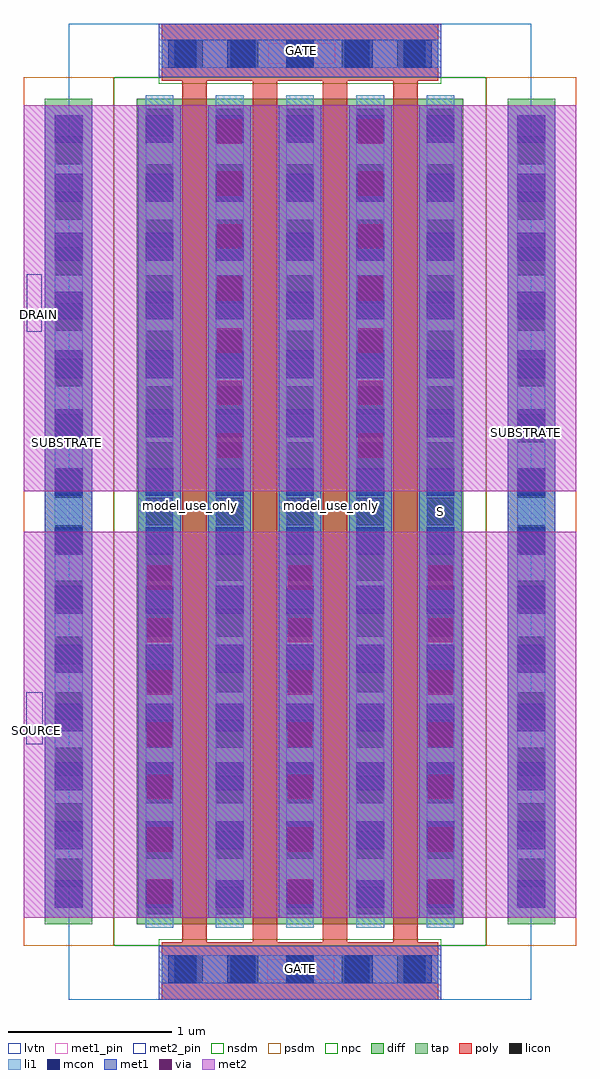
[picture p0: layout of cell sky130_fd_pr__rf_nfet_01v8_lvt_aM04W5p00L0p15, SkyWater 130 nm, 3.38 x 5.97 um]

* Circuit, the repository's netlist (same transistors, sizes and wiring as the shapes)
* Copyright 2020 The SkyWater PDK Authors
*
* Licensed under the Apache License, Version 2.0 (the "License");
* you may not use this file except in compliance with the License.
* You may obtain a copy of the License at
*
*     https://www.apache.org/licenses/LICENSE-2.0
*
* Unless required by applicable law or agreed to in writing, software
* distributed under the License is distributed on an "AS IS" BASIS,
* WITHOUT WARRANTIES OR CONDITIONS OF ANY KIND, either express or implied.
* See the License for the specific language governing permissions and
* limitations under the License.
*
* SPDX-License-Identifier: Apache-2.0


.subckt sky130_fd_pr__rf_nfet_01v8_lvt_aM04W5p00L0p15 DRAIN GATE SOURCE SUBSTRATE
X0 DRAIN GATE SOURCE SUBSTRATE sky130_fd_pr__nfet_01v8_lvt w=5.05e+06u l=150000u
X1 DRAIN GATE SOURCE SUBSTRATE sky130_fd_pr__nfet_01v8_lvt w=5.05e+06u l=150000u
X2 SOURCE GATE DRAIN SUBSTRATE sky130_fd_pr__nfet_01v8_lvt w=5.05e+06u l=150000u
X3 SOURCE GATE DRAIN SUBSTRATE sky130_fd_pr__nfet_01v8_lvt w=5.05e+06u l=150000u
.ends

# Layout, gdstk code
import gdstk
lib = gdstk.Library(unit=1e-6, precision=1e-09)
def R(c, l, rs):  # rectangles x0, y0, x1, y1
    for r in rs: c.add(gdstk.rectangle(r[:2], r[2:], *l))
def A(c, l, x, y, w, h, nx, ny, dx, dy):  # array of equal rectangles
    R(c, l, [(x+i*dx, y+j*dy, x+i*dx+w, y+j*dy+h) for i in range(nx) for j in range(ny)])
diff = (65, 20)
tap = (65, 44)
poly = (66, 20)
licon = (66, 44)
li1 = (67, 20)
mcon = (67, 44)
met1_pin = (68, 16)
met1 = (68, 20)
via = (68, 44)
met2_pin = (69, 16)
met2 = (69, 20)
nsdm = (93, 44)
psdm = (94, 20)
npc = (95, 20)
lvtn = (125, 44)

sky130_fd_pr__rf_nfet_01 = lib.new_cell('sky130_fd_pr__rf_nfet_01v8_lvt_aM04W5p00L0p15')
R(sky130_fd_pr__rf_nfet_01, diff, [(0.69,0.46,2.69,5.51)])
R(sky130_fd_pr__rf_nfet_01, tap, [(0.13,0.46,0.42,5.51), (2.96,0.46,3.25,5.51)])
A(sky130_fd_pr__rf_nfet_01, poly, 0.97, 0.35, 0.15, 5.27, 4, 1, 0.43, 0)
R(sky130_fd_pr__rf_nfet_01, poly, [(0.845,0,2.535,0.35), (0.845,5.62,2.535,5.97)])
A(sky130_fd_pr__rf_nfet_01, licon, 0.925, 0.1, 0.17, 0.17, 5, 2, 0.34, 5.6)
A(sky130_fd_pr__rf_nfet_01, licon, 0.745, 0.52, 0.17, 0.17, 5, 15, 0.43, 0.34)
A(sky130_fd_pr__rf_nfet_01, licon, 0.19, 0.69, 0.17, 0.17, 1, 14, 0, 0.34)
A(sky130_fd_pr__rf_nfet_01, licon, 3.02, 0.69, 0.17, 0.17, 1, 14, 0, 0.34)
A(sky130_fd_pr__rf_nfet_01, li1, 0.745, 0.44, 0.17, 5.09, 5, 1, 0.43, 0)
A(sky130_fd_pr__rf_nfet_01, li1, 0.745, 1.64, 0.17, 2.69, 5, 1, 0.43, 0)
R(sky130_fd_pr__rf_nfet_01, li1, [(0.845,0.1,2.535,0.27), (0.885,0.1,2.495,0.27), (0.19,0.56,0.36,5.41), (3.02,0.56,3.19,5.41), (0.19,0.61,0.36,5.36), (3.02,0.61,3.19,5.36), (0.19,1.63,0.36,4.34), (3.02,1.63,3.19,4.34), (0.845,5.7,2.535,5.87), (0.885,5.7,2.495,5.87)])
A(sky130_fd_pr__rf_nfet_01, mcon, 0.885, 0.1, 0.17, 0.17, 5, 2, 0.36, 5.6)
A(sky130_fd_pr__rf_nfet_01, mcon, 0.19, 0.56, 0.17, 0.17, 1, 14, 0, 0.36)
A(sky130_fd_pr__rf_nfet_01, mcon, 0.745, 0.56, 0.17, 0.17, 5, 14, 0.43, 0.36)
A(sky130_fd_pr__rf_nfet_01, mcon, 3.02, 0.56, 0.17, 0.17, 1, 14, 0, 0.36)
R(sky130_fd_pr__rf_nfet_01, met1_pin, [(1.49,0.12,1.9,0.245), (0.19,2.945,0.36,3.025), (3.02,2.945,3.19,3.025), (1.495,5.725,1.905,5.85)])
A(sky130_fd_pr__rf_nfet_01, met1, 0.7, 0.5, 0.26, 2.24, 3, 1, 0.86, 0)
A(sky130_fd_pr__rf_nfet_01, met1, 0.7, 0.5, 0.26, 4.97, 5, 1, 0.43, 0)
R(sky130_fd_pr__rf_nfet_01, met1, [(0.825,0,2.555,0.33), (0.13,0.5,0.42,5.47), (2.96,0.5,3.25,5.47), (1.13,3.23,1.39,5.47), (1.99,3.23,2.25,5.47), (0.825,5.64,2.555,5.97)])
A(sky130_fd_pr__rf_nfet_01, via, 0.755, 0.585, 0.15, 0.15, 3, 7, 0.86, 0.32)
A(sky130_fd_pr__rf_nfet_01, via, 1.185, 3.315, 0.15, 0.15, 1, 7, 0, 0.32)
A(sky130_fd_pr__rf_nfet_01, via, 2.045, 3.315, 0.15, 0.15, 1, 7, 0, 0.32)
R(sky130_fd_pr__rf_nfet_01, met2_pin, [(0.015,1.56,0.115,1.88), (0.02,4.085,0.11,4.435)])
A(sky130_fd_pr__rf_nfet_01, met2, 0.7, 0.5, 0.26, 2.24, 3, 1, 0.86, 0)
R(sky130_fd_pr__rf_nfet_01, met2, [(0,0.5,3.38,2.86), (0,3.11,3.38,5.47), (1.13,3.23,1.39,5.47), (1.99,3.23,2.25,5.47)])
R(sky130_fd_pr__rf_nfet_01, nsdm, [(0.55,0.33,2.83,5.64)])
R(sky130_fd_pr__rf_nfet_01, psdm, [(0,0.33,0.55,5.64), (2.83,0.33,3.38,5.64)])
R(sky130_fd_pr__rf_nfet_01, npc, [(0.825,0,2.555,0.37), (0.825,5.6,2.555,5.97)])
R(sky130_fd_pr__rf_nfet_01, lvtn, [(0.275,0,3.105,5.97)])
sky130_fd_pr__rf_nfet_01.add(gdstk.Label('model_use_only', (1.02,3.02), layer=66, texttype=83))
sky130_fd_pr__rf_nfet_01.add(gdstk.Label('model_use_only', (1.45,3.02), layer=66, texttype=83))
sky130_fd_pr__rf_nfet_01.add(gdstk.Label('model_use_only', (1.88,3.02), layer=66, texttype=83))
sky130_fd_pr__rf_nfet_01.add(gdstk.Label('model_use_only', (2.31,3.02), layer=66, texttype=83))
sky130_fd_pr__rf_nfet_01.add(gdstk.Label('D', (1.26,2.985), layer=83, texttype=44))
sky130_fd_pr__rf_nfet_01.add(gdstk.Label('S', (0.83,2.985), layer=83, texttype=44))
sky130_fd_pr__rf_nfet_01.add(gdstk.Label('S', (2.12,2.985), layer=83, texttype=44))
sky130_fd_pr__rf_nfet_01.add(gdstk.Label('S', (1.69,2.985), layer=83, texttype=44))
sky130_fd_pr__rf_nfet_01.add(gdstk.Label('S', (1.26,2.985), layer=83, texttype=44))
sky130_fd_pr__rf_nfet_01.add(gdstk.Label('S', (0.83,2.985), layer=83, texttype=44))
sky130_fd_pr__rf_nfet_01.add(gdstk.Label('S', (2.55,2.985), layer=83, texttype=44))
sky130_fd_pr__rf_nfet_01.add(gdstk.Label('D', (2.12,2.985), layer=83, texttype=44))
sky130_fd_pr__rf_nfet_01.add(gdstk.Label('S', (1.69,2.985), layer=83, texttype=44))
sky130_fd_pr__rf_nfet_01.add(gdstk.Label('GATE', (1.7,5.805), layer=68, texttype=5))
sky130_fd_pr__rf_nfet_01.add(gdstk.Label('GATE', (1.695,0.19), layer=68, texttype=5))
sky130_fd_pr__rf_nfet_01.add(gdstk.Label('SUBSTRATE', (0.265,3.405), layer=68, texttype=5))
sky130_fd_pr__rf_nfet_01.add(gdstk.Label('SUBSTRATE', (3.075,3.47), layer=68, texttype=5))
sky130_fd_pr__rf_nfet_01.add(gdstk.Label('DRAIN', (0.09,4.19), layer=69, texttype=5))
sky130_fd_pr__rf_nfet_01.add(gdstk.Label('SOURCE', (0.08,1.645), layer=69, texttype=5))

lib.write_gds('sky130_fd_pr__rf_nfet_01v8_lvt_aM04W5p00L0p15.gds')
